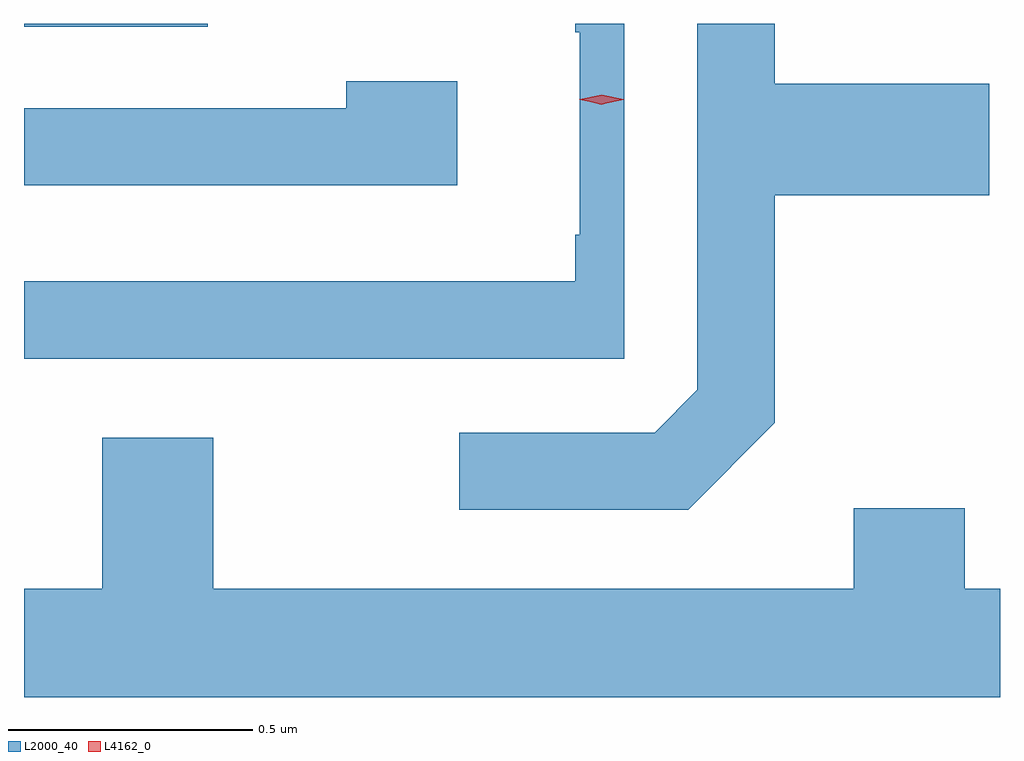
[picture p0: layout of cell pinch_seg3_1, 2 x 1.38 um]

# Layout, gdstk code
import gdstk
lib = gdstk.Library(unit=1e-6, precision=1e-09)
def R(c, l, rs):  # rectangles x0, y0, x1, y1
    for r in rs: c.add(gdstk.rectangle(r[:2], r[2:], *l))
def P(c, l, *ps):  # polygons
    for p in ps: c.add(gdstk.Polygon(p, *l))
L2000_40 = (2000, 40)
L4162_0 = (4162, 0)

pinch_seg3_1 = lib.new_cell('pinch_seg3_1')
R(pinch_seg3_1, L2000_40, [(843.851,1253.976,844.228,1253.982)])
P(pinch_seg3_1, L2000_40, [(845.081,1253.982),(844.981,1253.982),(844.981,1253.965),(844.99,1253.965),(844.99,1253.55),(844.981,1253.55),(844.981,1253.454),(843.851,1253.454),(843.851,1253.296),(845.081,1253.296)],
  [(845.389,1253.164),(845.389,1253.631),(845.829,1253.631),(845.829,1253.859),(845.389,1253.859),(845.389,1253.982),(845.231,1253.982),(845.231,1253.232),(845.144,1253.144),(844.743,1253.144),(844.743,1252.986),(845.212,1252.986)],
  [(844.739,1253.864),(844.511,1253.864),(844.511,1253.809),(843.851,1253.809),(843.851,1253.651),(844.739,1253.651)],
  [(845.851,1252.824),(845.779,1252.824),(845.779,1252.989),(845.551,1252.989),(845.551,1252.824),(844.239,1252.824),(844.239,1253.134),(844.011,1253.134),(844.011,1252.824),(843.851,1252.824),(843.851,1252.602),(845.851,1252.602)])
P(pinch_seg3_1, L4162_0, [(845.035,1253.817),(844.99,1253.826),(844.989,1253.827),(844.99,1253.827),(845.035,1253.837),(845.08,1253.827),(845.08,1253.827),(845.08,1253.826)],
  [(845.034,1253.816),(844.996,1253.826),(844.995,1253.826),(844.996,1253.827),(845.034,1253.836),(845.072,1253.827),(845.072,1253.826),(845.072,1253.826)])

lib.write_gds('pinch_seg3_1.gds')
